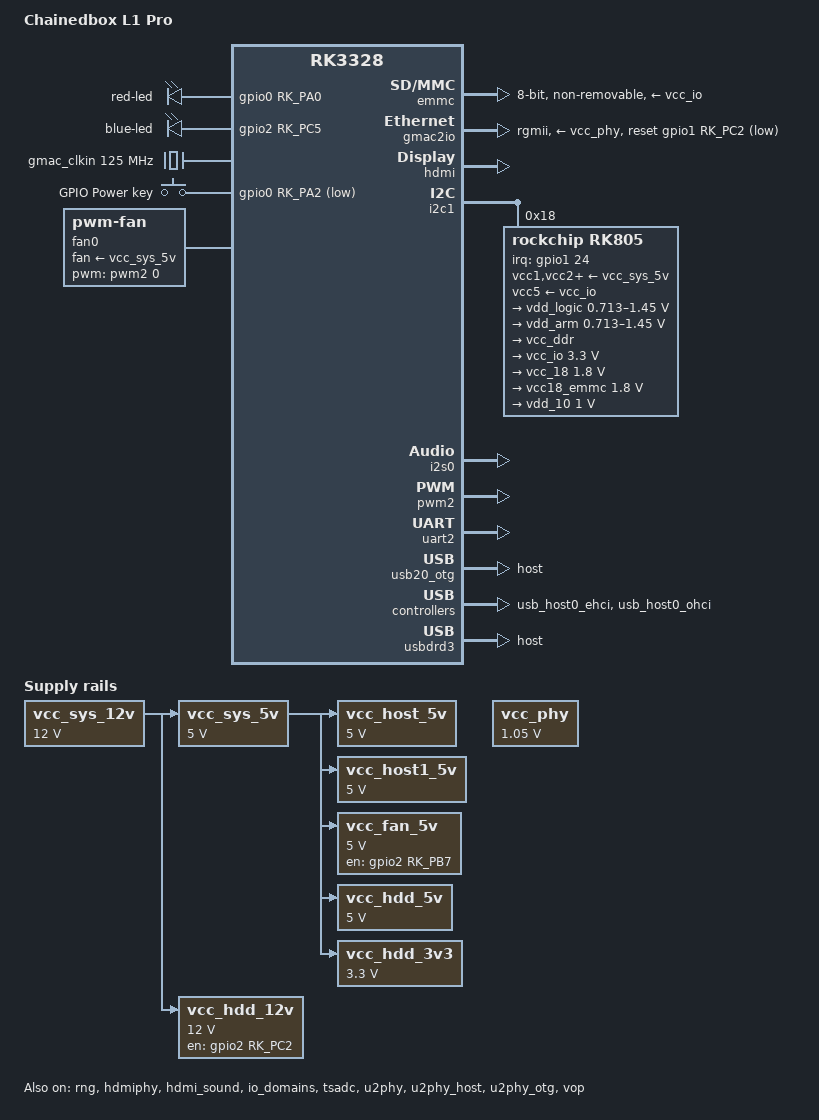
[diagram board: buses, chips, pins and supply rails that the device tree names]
// SPDX-License-Identifier: (GPL-2.0+ OR MIT)
/*
 * Copyright (c) 2017 PINE64
 */

/dts-v1/;
#include <dt-bindings/input/input.h>
#include "rk3328.dtsi"

/ {
	model = "Chainedbox L1 Pro";
	compatible = "pine64,rock64", "rockchip,rk3328";

	aliases {
		mmc0 = &emmc;
		mmc1 = &sdmmc;
                mmc2 = &sdio;
	};

	chosen {
		bootargs = "earlycon=uart8250,mmio32,0xff130000";
		stdout-path = "serial2:1500000n8";
	};

	leds {
		compatible = "gpio-leds";

                red-led {
                        gpios = <&gpio0 RK_PA0 GPIO_ACTIVE_HIGH>;
                        default-state = "on";
                };

                blue-led {
                        gpios = <&gpio2 RK_PC5 GPIO_ACTIVE_HIGH>;
                        default-state = "on";
                        linux,default-trigger = "stmmac-0:00:link";
                };
	};

	gmac_clkin: external-gmac-clock {
		compatible = "fixed-clock";
		clock-frequency = <125000000>;
		clock-output-names = "gmac_clkin";
		#clock-cells = <0>;
	};

        vcc_sys_12v: vcc-sys-12v {
                compatible = "regulator-fixed";
                regulator-name = "vcc_sys_12v";
                regulator-always-on;
                regulator-boot-on;
                regulator-min-microvolt = <12000000>;
                regulator-max-microvolt = <12000000>;
        };

        vcc_sys_5v: vcc-sys-5v {
                compatible = "regulator-fixed";
                regulator-name = "vcc_sys_5v";
                regulator-always-on;
                regulator-boot-on;
                regulator-min-microvolt = <5000000>;
                regulator-max-microvolt = <5000000>;
                vin-supply = <&vcc_sys_12v>;
        };

        vcc_host_5v: vcc-host-5v-regulator {
                compatible = "regulator-fixed";
                regulator-name = "vcc_host_5v";
                regulator-always-on;
                regulator-boot-on;
                regulator-min-microvolt = <5000000>;
                regulator-max-microvolt = <5000000>;
                vin-supply = <&vcc_sys_5v>;
        };

        vcc_host1_5v: vcc_otg_5v: vcc-host1-5v-regulator {
                compatible = "regulator-fixed";
                regulator-name = "vcc_host1_5v";
                regulator-always-on;
                regulator-boot-on;
                regulator-min-microvolt = <5000000>;
                regulator-max-microvolt = <5000000>;
                vin-supply = <&vcc_sys_5v>;
        };

        vcc_phy: vcc-phy-regulator {
                compatible = "regulator-fixed";
                regulator-name = "vcc_phy";
                regulator-always-on;
                regulator-boot-on;
                regulator-min-microvolt = <1050000>;
                regulator-max-microvolt = <1050000>;
        };

        vcc_fan_5v: vcc-fan-5v-regulator {
                compatible = "regulator-fixed";
                gpio = <&gpio2 RK_PB7 GPIO_ACTIVE_HIGH>;

                pinctrl-names = "default";
                pinctrl-0 = <&fan_pwr_pin>;
                regulator-name = "vcc_fan_5v";

                enable-active-high;
                regulator-boot-on;
                regulator-always-on;

                regulator-min-microvolt = <5000000>;
                regulator-max-microvolt = <5000000>;
                vin-supply = <&vcc_sys_5v>;
	};

        vcc_hdd_12v: vcc-hdd-12v-regulator {
                compatible = "regulator-fixed";
                gpio = <&gpio2 RK_PC2 GPIO_ACTIVE_HIGH>;

                pinctrl-names = "default";
                pinctrl-0 = <&hdd_pwr_pin>;
                regulator-name = "vcc_hdd_12v";

                enable-active-high;
                regulator-boot-on;
                regulator-always-on;

                regulator-min-microvolt = <12000000>;
                regulator-max-microvolt = <12000000>;
                startup-delay-us = <2000000>;
                vin-supply = <&vcc_sys_12v>;
        };

        vcc_hdd_5v: vcc-hdd-5v-regulator {
                compatible = "regulator-fixed";
                regulator-name = "vcc_hdd_5v";
                regulator-boot-on;
                regulator-always-on;
                regulator-min-microvolt = <5000000>;
                regulator-max-microvolt = <5000000>;
                vin-supply = <&vcc_sys_5v>;
        };

        vcc_hdd_3v3: vcc-hdd-3v3-regulator {
                compatible = "regulator-fixed";
                regulator-name = "vcc_hdd_3v3";
                regulator-always-on;
                regulator-boot-on;
                regulator-min-microvolt = <3300000>;
                regulator-max-microvolt = <3300000>;
                vin-supply = <&vcc_sys_5v>;
        };

        keys: gpio-keys {
                compatible = "gpio-keys";
                #address-cells = <1>;
                #size-cells = <0>;
                autorepeat;

                pinctrl-names = "default";
                pinctrl-0 = <&pwr_key>;

                button@0 {
                        wakeup-source;
                        gpios = <&gpio0 RK_PA2 GPIO_ACTIVE_LOW>;
                        linux,code = <KEY_POWER>;
                        label = "GPIO Power key";
                        linux,input-type = <1>;
                        gpio-key,wakeup = <1>;
                        debounce-interval = <100>;
                };
        };

        fan0: pwm-fan {
                compatible = "pwm-fan";
                pwms = <&pwm2 0 50000 0>;
                #cooling-cells = <2>;
		cooling-min-state = <0>;
		cooling-max-state = <3>;
                cooling-levels = <100 150 200 255>;
                fan-supply = <&vcc_sys_5v>;
                status = "okay";
        };
};

&cpu0 {
	cpu-supply = <&vdd_arm>;
};

&cpu1 {
	cpu-supply = <&vdd_arm>;
};

&cpu2 {
	cpu-supply = <&vdd_arm>;
};

&cpu3 {
	cpu-supply = <&vdd_arm>;
};

&emmc {
	max-frequency = <150000000>;
	bus-width = <8>;
	cap-mmc-highspeed;
	mmc-hs200-1_8v;
	non-removable;
	num-slots = <1>;
	pinctrl-names = "default";
	pinctrl-0 = <&emmc_clk &emmc_cmd &emmc_bus8>;
	vmmc-supply = <&vcc_io>;
	vqmmc-supply = <&vcc18_emmc>;
	status = "okay";
};

&gmac2io {
	assigned-clocks = <&cru SCLK_MAC2IO>, <&cru SCLK_MAC2IO_EXT>;
	assigned-clock-parents = <&gmac_clkin>, <&gmac_clkin>;
	clock_in_out = "input";
	phy-supply = <&vcc_phy>;
	phy-mode = "rgmii";
	pinctrl-names = "default";
	pinctrl-0 = <&rgmiim1_pins>;
	snps,aal;
	snps,pbl = <0x8>;
	snps,reset-gpio = <&gpio1 RK_PC2 GPIO_ACTIVE_LOW>;
	snps,reset-active-low;
	snps,reset-delays-us = <0 20000 100000>;
	tx_delay = <0x26>;
	rx_delay = <0x11>;
	status = "okay";
};

&gpu {
	mali-supply = <&vdd_logic>;
};

&rng {
	status = "okay";
};

&crypto {
	status = "disabled";
};

&hdmi {
	status = "okay";
};

&hdmiphy {
	status = "okay";
};

&hdmi_sound {
        status = "okay";
};

&i2c1 {
	status = "okay";

	rk805: rk805@18 {
		compatible = "rockchip,rk805";
		reg = <0x18>;
		interrupt-parent = <&gpio1>;
		interrupts = <24 IRQ_TYPE_LEVEL_LOW>;
		#clock-cells = <1>;
		clock-output-names = "xin32k", "rk805-clkout2";
		gpio-controller;
		#gpio-cells = <2>;
		pinctrl-names = "default";
		pinctrl-0 = <&pmic_int_l>;
		rockchip,system-power-controller;
		wakeup-source;

		vcc1-supply = <&vcc_sys_5v>;
		vcc2-supply = <&vcc_sys_5v>;
		vcc3-supply = <&vcc_sys_5v>;
		vcc4-supply = <&vcc_sys_5v>;
		vcc5-supply = <&vcc_io>;
		vcc6-supply = <&vcc_sys_5v>;

		regulators {
			vdd_logic: DCDC_REG1 {
				regulator-name = "vdd_logic";
				regulator-min-microvolt = <712500>;
				regulator-max-microvolt = <1450000>;
				regulator-ramp-delay = <12500>;
				regulator-always-on;
				regulator-boot-on;
				regulator-state-mem {
					regulator-on-in-suspend;
					regulator-suspend-microvolt = <1000000>;
				};
			};

			vdd_arm: DCDC_REG2 {
				regulator-name = "vdd_arm";
				regulator-min-microvolt = <712500>;
				regulator-max-microvolt = <1450000>;
				regulator-ramp-delay = <12500>;
				regulator-always-on;
				regulator-boot-on;
				regulator-state-mem {
					regulator-on-in-suspend;
					regulator-suspend-microvolt = <950000>;
				};
			};

			vcc_ddr: DCDC_REG3 {
				regulator-name = "vcc_ddr";
				regulator-always-on;
				regulator-boot-on;
				regulator-state-mem {
					regulator-on-in-suspend;
				};
			};

			vcc_io: DCDC_REG4 {
				regulator-name = "vcc_io";
				regulator-min-microvolt = <3300000>;
				regulator-max-microvolt = <3300000>;
				regulator-always-on;
				regulator-boot-on;
				regulator-state-mem {
					regulator-on-in-suspend;
					regulator-suspend-microvolt = <3300000>;
				};
			};

			vcc_18: LDO_REG1 {
				regulator-name = "vcc_18";
				regulator-min-microvolt = <1800000>;
				regulator-max-microvolt = <1800000>;
				regulator-always-on;
				regulator-boot-on;
				regulator-state-mem {
					regulator-on-in-suspend;
					regulator-suspend-microvolt = <1800000>;
				};
			};

			vcc18_emmc: LDO_REG2 {
				regulator-name = "vcc18_emmc";
				regulator-min-microvolt = <1800000>;
				regulator-max-microvolt = <1800000>;
				regulator-always-on;
				regulator-boot-on;
				regulator-state-mem {
					regulator-on-in-suspend;
					regulator-suspend-microvolt = <1800000>;
				};
			};

			vdd_10: LDO_REG3 {
				regulator-name = "vdd_10";
				regulator-min-microvolt = <1000000>;
				regulator-max-microvolt = <1000000>;
				regulator-always-on;
				regulator-boot-on;
				regulator-state-mem {
					regulator-on-in-suspend;
					regulator-suspend-microvolt = <1000000>;
				};
			};
		};
	};
};

&i2s0 {
	status = "okay";
};

&pwm2 {
        status = "okay";
};

&io_domains {
	status = "okay";

	vccio1-supply = <&vcc_io>;
	vccio2-supply = <&vcc18_emmc>;
	vccio3-supply = <&vcc_io>;
	vccio4-supply = <&vcc_18>;
	vccio5-supply = <&vcc_io>;
	vccio6-supply = <&vcc_io>;
	pmuio-supply = <&vcc_io>;
};

&pinctrl {

	pmic {
		pmic_int_l: pmic-int-l {
			rockchip,pins = <1 RK_PD0 RK_FUNC_GPIO &pcfg_pull_up>;
		};
	};

        keys {
                pwr_key: pwr-key {
                        rockchip,pins = <0 RK_PA2 RK_FUNC_GPIO &pcfg_pull_none>;
                };
        };

        hdd {
                hdd_pwr_pin: hdd-pwr-pin {
                        rockchip,pins = <2 RK_PC2 RK_FUNC_GPIO &pcfg_pull_up>;
                };
        };

        fan {
                fan_pwr_pin: fan-pwr-pin {
                        rockchip,pins = <2 RK_PB7 RK_FUNC_GPIO &pcfg_pull_up_4ma>;
                };
        };
};

&sdmmc {
	bus-width = <4>;
	cap-mmc-highspeed;
	cap-sd-highspeed;
	cd-gpios = <&gpio1 RK_PA5 GPIO_ACTIVE_LOW>;
	disable-wp;
	pinctrl-names = "default";
	pinctrl-0 = <&sdmmc0_clk &sdmmc0_cmd &sdmmc0_dectn &sdmmc0_bus4>;
	vmmc-supply = <&vcc_io>;
	status = "disabled";
};

&tsadc {
	rockchip,hw-tshut-mode = <0>;
	rockchip,hw-tshut-polarity = <0>;
	status = "okay";
};

&uart2 {
	status = "okay";
};

&u2phy {
	status = "okay";
};

&u2phy_host {
	status = "okay";
};

&u2phy_otg {
	status = "okay";
};

&usb20_otg {
	dr_mode = "host";
	status = "okay";
};

&usb_host0_ehci {
	status = "okay";
};

&usb_host0_ohci {
	status = "okay";
};

&usbdrd3 {
        dr_mode = "host";
        status = "okay";
};

&vop {
	status = "okay";
};

&vop_mmu {
	status = "okay";
};

&soc_thermal {
	/delete-node/ trips;
	/delete-node/ cooling-maps;
        trips {
                soc_cool: soc-cool {
                        temperature = <50000>;
                        hysteresis = <2000>;
                        type = "active";
                };

                soc_warm: soc-warm {
                        temperature = <60000>;
                        hysteresis = <2000>;
                        type = "active";
                };

		threshold: trip-point0 {
			temperature = <70000>;
			hysteresis = <2000>;
			type = "active";
		};

		target: trip-point1 {
			temperature = <85000>;
			hysteresis = <2000>;
			type = "active";
		};

		soc_crit: soc-crit {
			temperature = <95000>;
			hysteresis = <2000>;
			type = "critical";
		};
        };

        cooling-maps {

                map0 {
                        trip = <&soc_cool>;
                        cooling-device = <&fan0 0 1>;
                };

                map1 {
                        trip = <&soc_warm>;
                        cooling-device = <&fan0 1 2>;
                };

                map2 {
                        trip = <&threshold>;
                        cooling-device = <&fan0 2 3>;
		};

		map3 {
			trip = <&target>;
			cooling-device = <&cpu0 THERMAL_NO_LIMIT THERMAL_NO_LIMIT>,
					 <&cpu1 THERMAL_NO_LIMIT THERMAL_NO_LIMIT>,
					 <&cpu2 THERMAL_NO_LIMIT THERMAL_NO_LIMIT>,
					 <&cpu3 THERMAL_NO_LIMIT THERMAL_NO_LIMIT>;
			contribution = <4096>;
		};
        };
};

&grf_gpio {
        status = "okay";
};

&cpu0_opp_table {

	opp-408000000 {
		status = "disabled";
	};

	opp-1392000000 {
		opp-hz = /bits/ 64 <1392000000>;
		opp-microvolt = <1400000>;
		clock-latency-ns = <40000>;
		status = "disabled";
	};

	opp-1512000000 {
		opp-hz = /bits/ 64 <1512000000>;
		opp-microvolt = <1450000>;
		clock-latency-ns = <40000>;
		status = "disabled";
	};

};
